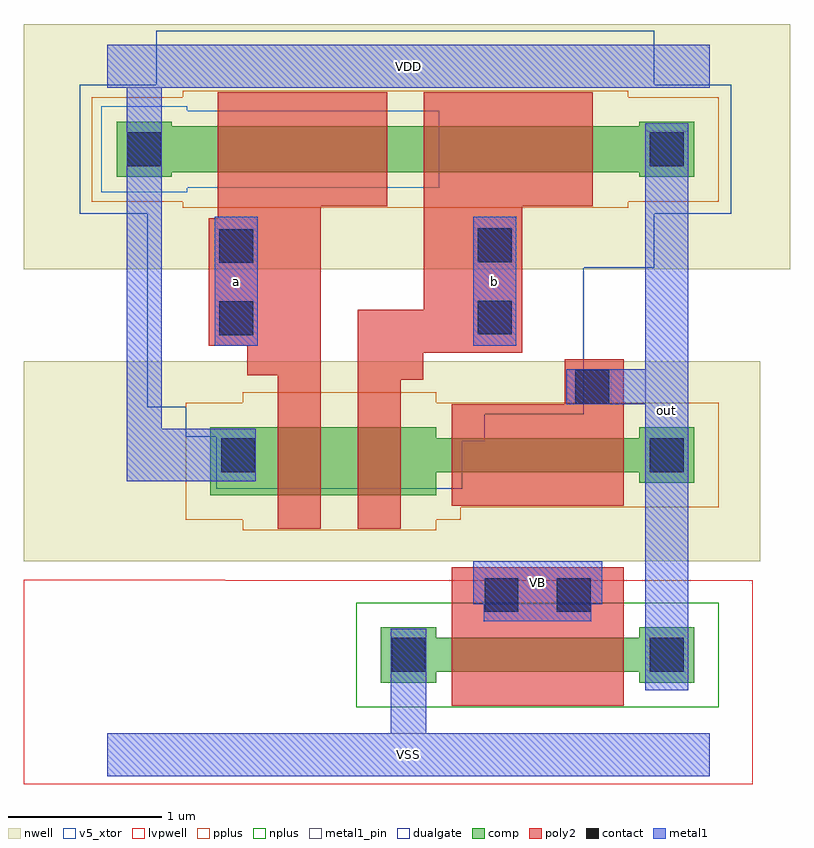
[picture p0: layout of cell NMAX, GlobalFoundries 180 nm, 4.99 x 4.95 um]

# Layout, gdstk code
import gdstk
lib = gdstk.Library(unit=1e-6, precision=1e-09)
def R(c, l, rs):  # rectangles x0, y0, x1, y1
    for r in rs: c.add(gdstk.rectangle(r[:2], r[2:], *l))
nwell = (21, 0)
comp = (22, 0)
poly2 = (30, 0)
pplus = (31, 0)
nplus = (32, 0)
contact = (33, 0)
metal1 = (34, 0)
metal1_pin = (34, 10)
dualgate = (55, 0)
v5_xtor = (112, 1)
lvpwell = (204, 0)

nmax = lib.new_cell('NMAX')
R(nmax, nwell, [(-0.545,1.26,4.25,2.56), (-0.545,3.16,4.445,4.755)])
R(nmax, comp, [(1.78,0.47,2.14,0.54), (3.46,0.47,3.82,0.54), (1.78,0.54,3.82,0.76), (1.78,0.76,2.14,0.83), (3.46,0.76,3.82,0.83), (0.67,1.69,2.14,1.84), (3.46,1.77,3.82,1.84), (0.67,1.84,3.82,2.06), (0.67,2.06,2.14,2.13), (3.46,2.06,3.82,2.13), (0.06,3.76,0.42,3.79), (3.46,3.76,3.82,3.79), (0.06,3.79,3.82,4.09), (0.06,4.09,0.42,4.12), (3.46,4.09,3.82,4.12)])
R(nmax, poly2, [(2.24,0.32,3.36,1.22), (1.11,1.47,1.39,2.47), (1.63,1.47,1.91,2.44), (2.24,1.62,3.36,2.28), (2.975,2.28,3.36,2.575), (1.63,2.44,2.055,2.615), (0.91,2.47,1.39,2.66), (1.63,2.615,2.7,2.895), (0.66,2.66,1.39,3.49), (2.06,2.895,2.7,3.57), (0.72,3.49,1.39,3.57), (0.72,3.57,1.82,4.31), (2.06,3.57,3.16,4.31)])
R(nmax, pplus, [(0.88,1.46,2.14,1.53), (0.51,1.53,2.3,1.61), (0.51,1.61,3.98,2.29), (0.88,2.29,2.14,2.36), (0.49,3.56,3.39,3.6), (-0.1,3.6,3.98,4.28), (0.49,4.28,3.39,4.32)])
R(nmax, nplus, [(1.62,0.31,3.98,0.99)])
R(nmax, contact, [(1.85,0.54,2.07,0.76), (3.53,0.54,3.75,0.76), (2.455,0.93,2.675,1.15), (2.925,0.93,3.145,1.15), (0.74,1.84,0.96,2.06), (3.53,1.84,3.75,2.06), (3.045,2.285,3.265,2.505), (0.73,2.73,0.95,2.95), (2.41,2.735,2.63,2.955), (0.73,3.2,0.95,3.42), (2.41,3.205,2.63,3.425), (0.13,3.83,0.35,4.05), (3.53,3.83,3.75,4.05)])
R(nmax, metal1, [(0,-0.14,3.92,0.14), (1.845,0.14,2.075,0.82), (3.5,0.42,3.78,2.28), (2.45,0.87,3.15,0.98), (2.38,0.98,3.22,1.26), (0.125,1.78,0.965,2.12), (0.125,2.12,0.355,4.34), (2.985,2.28,3.78,2.51), (3.5,2.51,3.78,4.11), (0.7,2.66,0.98,3.5), (2.38,2.66,2.66,3.5), (0,4.34,3.92,4.62)])
R(nmax, metal1_pin, [(0,-0.14,3.92,0.14), (3.5,0.42,3.78,4.06), (2.38,0.98,3.22,1.26), (0.7,2.66,0.98,3.5), (2.38,2.66,2.66,3.5), (0,4.34,3.92,4.62)])
R(nmax, dualgate, [(0.71,1.73,2.31,2.04), (0.71,2.04,2.455,2.07), (0.51,2.07,2.455,2.215), (0.51,2.215,3.1,2.26), (0.26,2.26,3.1,3.17), (0.26,3.17,3.56,3.52), (-0.18,3.52,4.06,4.36), (0.32,4.36,3.56,4.71)])
R(nmax, v5_xtor, [(-0.04,3.66,0.52,3.69), (-0.04,3.69,2.16,4.19), (-0.04,4.19,0.52,4.22)])
R(nmax, lvpwell, [(-0.545,-0.19,4.2,1.135), (-0.545,1.135,0.765,1.14)])
nmax.add(gdstk.Label('VSS', (1.96,0), layer=34, texttype=10))
nmax.add(gdstk.Label('VDD', (1.96,4.48), layer=34, texttype=10))
nmax.add(gdstk.Label('out', (3.64,2.24), layer=34, texttype=10))
nmax.add(gdstk.Label('a', (0.84,3.08), layer=34, texttype=10))
nmax.add(gdstk.Label('b', (2.52,3.08), layer=34, texttype=10))
nmax.add(gdstk.Label('VB', (2.8,1.12), layer=34, texttype=10))

lib.write_gds('NMAX.gds')
